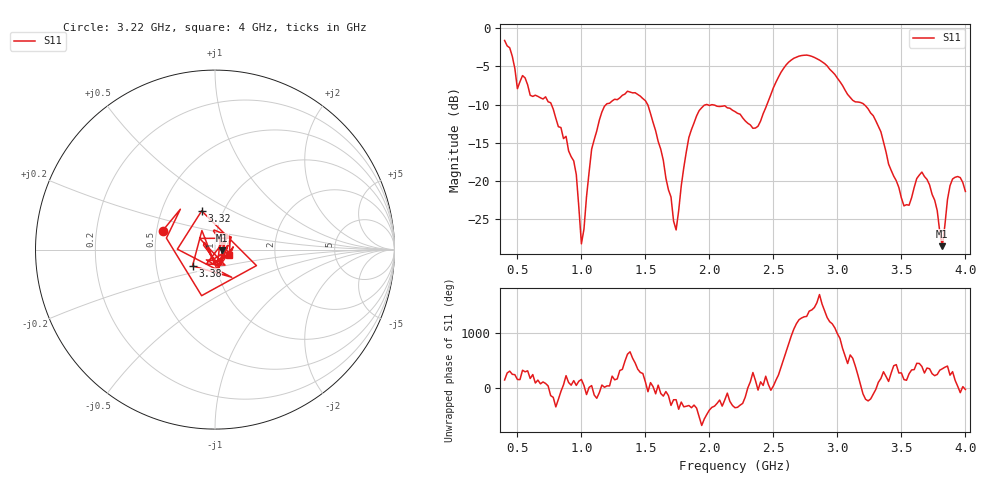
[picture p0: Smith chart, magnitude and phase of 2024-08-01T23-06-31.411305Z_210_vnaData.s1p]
!Created with skrf (http://scikit-rf.org).
# Hz S RI R 50.0
!freq ReS11 ImS11
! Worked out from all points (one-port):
!   181 points, 400 MHz to 4 GHz, reference 50 ohm
!   lowest |S11| = -28.5 dB at 3.82 GHz (marker M1), VSWR 1.08, Z = 53.9 - j0.311 ohm
!   |S11| at or under -10 dB: 1.517 GHz to 1.977 GHz (459.2 MHz wide, 26.3 % of centre); 1.982 GHz to 2.45 GHz (467.4 MHz wide, 21.1 % of centre); 3.209 GHz to end of sweep (the widest 3 of 4)
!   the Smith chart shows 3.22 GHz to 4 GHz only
!   S11 on the Smith chart (normalised r, x): 3.22 GHz: 0.54, +0.12; 3.32 GHz: 0.79, +0.36; 3.38 GHz: 0.77, -0.14; 4 GHz: 1.17, -0.07
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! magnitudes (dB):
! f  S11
! 400 MHz  -1.6
! 500 MHz  -7.9
! 720 MHz  -9.0
! 860 MHz  -14.5
! 960 MHz  -19.2
! 1 GHz  -28.2
! 1.08 GHz  -15.8
! 1.18 GHz  -10.2
! 1.3 GHz  -9.1
! 1.52 GHz  -10.1
! 1.74 GHz  -26.4
! 1.76 GHz  -23.9
! 1.84 GHz  -14.3
! 1.92 GHz  -10.8
! 2.2 GHz  -10.9
! 2.38 GHz  -12.8
! 2.66 GHz  -3.9
! 2.9 GHz  -4.6
! 3.1 GHz  -9.1
! 3.22 GHz  -10.2
! 3.32 GHz  -12.8
! 3.38 GHz  -16.2
! 3.56 GHz  -23.2
! 3.66 GHz  -18.8
! 3.76 GHz  -22.5
! 3.82 GHz  -28.5
! 3.9 GHz  -19.7
! 4 GHz  -21.4
